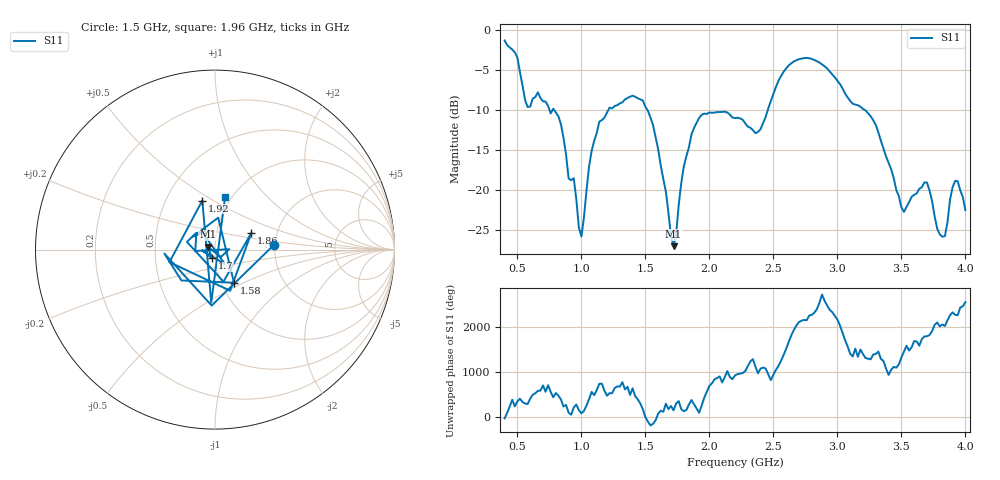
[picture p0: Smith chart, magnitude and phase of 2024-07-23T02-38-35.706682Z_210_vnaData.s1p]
!Created with skrf (http://scikit-rf.org).
# Hz S RI R 50.0
!freq ReS11 ImS11
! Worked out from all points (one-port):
!   181 points, 400 MHz to 4 GHz, reference 50 ohm
!   lowest |S11| = -27.1 dB at 1.72 GHz (marker M1), VSWR 1.09, Z = 46 + j1.53 ohm
!   |S11| at or under -10 dB: 787 MHz to 1.21 GHz (423.1 MHz wide, 42.4 % of centre); 1.516 GHz to 2.456 GHz (939.9 MHz wide, 47.3 % of centre); 3.215 GHz to end of sweep (the widest 3 of 4)
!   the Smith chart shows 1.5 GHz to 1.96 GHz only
!   S11 on the Smith chart (normalised r, x): 1.5 GHz: 1.98, +0.12; 1.58 GHz: 1.15, -0.44; 1.7 GHz: 0.97, -0.09; 1.86 GHz: 1.47, +0.29; 1.92 GHz: 0.75, +0.45; 1.96 GHz: 0.93, +0.60
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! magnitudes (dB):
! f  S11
! 400 MHz  -1.3
! 500 MHz  -3.4
! 580 MHz  -9.6
! 660 MHz  -7.8
! 860 MHz  -13.5
! 1 GHz  -25.9
! 1.06 GHz  -17.1
! 1.14 GHz  -11.4
! 1.3 GHz  -9.2
! 1.5 GHz  -9.6
! 1.58 GHz  -13.4
! 1.7 GHz  -25.8
! 1.72 GHz  -27.1
! 1.76 GHz  -22.0
! 1.86 GHz  -13.0
! 1.92 GHz  -11.0
! 1.96 GHz  -10.4
! 2.2 GHz  -11.0
! 2.38 GHz  -12.7
! 2.66 GHz  -3.9
! 3.1 GHz  -8.8
! 3.28 GHz  -11.3
! 3.5 GHz  -22.2
! 3.56 GHz  -21.6
! 3.7 GHz  -19.1
! 3.82 GHz  -25.9
! 3.92 GHz  -18.9
! 4 GHz  -22.6
